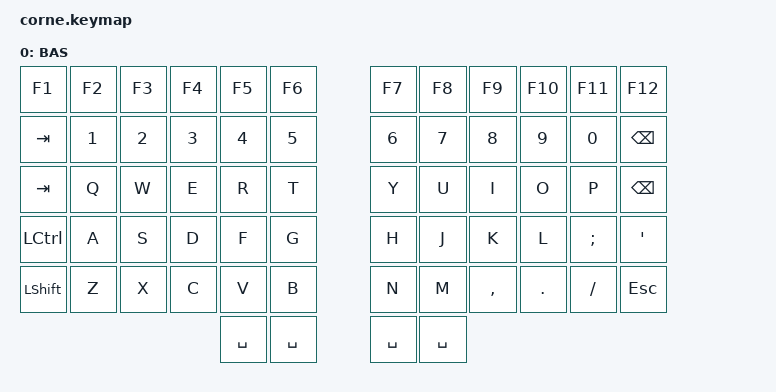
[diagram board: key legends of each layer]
/*
 * Copyright (c) 2020 The ZMK Contributors
 *
 * SPDX-License-Identifier: MIT
 */

#include <behaviors.dtsi>
#include <dt-bindings/zmk/keys.h>
#include <dt-bindings/zmk/bt.h>
#include <dt-bindings/zmk/outputs.h>
#include <dt-bindings/zmk/ext_power.h>
#include <dt-bindings/zmk/reset.h>

/ {
    keymap {
        compatible = "zmk,keymap";

        default_layer {
            display-name = "BAS";
            // -----------------------------------------------------------------------------------------
            // |  TAB |  Q  |  W  |  E  |  R  |  T  |   |  Y  |  U   |  I  |  O  |  P  | BKSP |
            // | CTRL |  A  |  S  |  D  |  F  |  G  |   |  H  |  J   |  K  |  L  |  ;  |  '   |
            // | SHFT |  Z  |  X  |  C  |  V  |  B  |   |  N  |  M   |  ,  |  .  |  /  | ESC  |
            //                    | GUI | LWR | SPC |   | ENT | RSE  | ALT |

            bindings = <
&kp F1     &kp F2  &kp F3  &kp F4 &kp F5  &kp F6       &kp F7   &kp F8  &kp F9    &kp F10  &kp F11   &kp F12
&kp TAB    &kp N1  &kp N2  &kp N3  &kp N4 &kp N5       &kp N6   &kp N7  &kp N8    &kp N9   &kp N0    &kp BSPC
&kp TAB    &kp Q  &kp W  &kp E     &kp R  &kp T        &kp Y    &kp U  &kp I      &kp O    &kp P     &kp BSPC
&kp LCTRL  &kp A  &kp S  &kp D     &kp F  &kp G        &kp H    &kp J  &kp K      &kp L    &kp SEMI  &kp SQT
&kp LSHFT  &kp Z  &kp X  &kp C     &kp V  &kp B        &kp N    &kp M  &kp COMMA  &kp DOT  &kp FSLH  &kp ESC
                         &kp SPACE  &kp SPACE    &kp SPACE &kp SPACE
            >;
        };
        extra_1 {
            status = "reserved";
        };

        extra_2 {
            status = "reserved";
        };

        extra_3 {
            status = "reserved";
        };
    };
};
